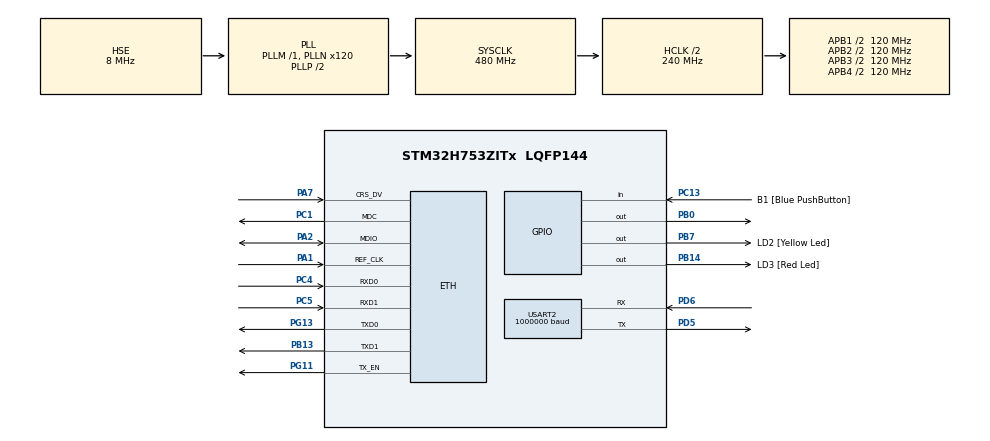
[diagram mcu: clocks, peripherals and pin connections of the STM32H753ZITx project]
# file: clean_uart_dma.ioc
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CORTEX_M7.AccessPermission_S-Cortex_Memory_Protection_Unit_Region1_Settings_S=MPU_REGION_FULL_ACCESS
CORTEX_M7.AccessPermission_S-Cortex_Memory_Protection_Unit_Region2_Settings_S=MPU_REGION_FULL_ACCESS
CORTEX_M7.AccessPermission_S-Cortex_Memory_Protection_Unit_Region3_Settings_S=MPU_REGION_FULL_ACCESS
CORTEX_M7.BaseAddress_S-Cortex_Memory_Protection_Unit_Region1_Settings_S=0x30000000
CORTEX_M7.BaseAddress_S-Cortex_Memory_Protection_Unit_Region2_Settings_S=0x30020000
CORTEX_M7.BaseAddress_S-Cortex_Memory_Protection_Unit_Region3_Settings_S=0x30040000
CORTEX_M7.CPU_DCache=Enabled
CORTEX_M7.CPU_ICache=Enabled
CORTEX_M7.DisableExec_S-Cortex_Memory_Protection_Unit_Region1_Settings_S=MPU_INSTRUCTION_ACCESS_DISABLE
CORTEX_M7.DisableExec_S-Cortex_Memory_Protection_Unit_Region2_Settings_S=MPU_INSTRUCTION_ACCESS_DISABLE
CORTEX_M7.DisableExec_S-Cortex_Memory_Protection_Unit_Region3_Settings_S=MPU_INSTRUCTION_ACCESS_DISABLE
CORTEX_M7.Enable_S-Cortex_Memory_Protection_Unit_Region1_Settings_S=MPU_REGION_ENABLE
CORTEX_M7.Enable_S-Cortex_Memory_Protection_Unit_Region2_Settings_S=MPU_REGION_ENABLE
CORTEX_M7.Enable_S-Cortex_Memory_Protection_Unit_Region3_Settings_S=MPU_REGION_ENABLE
CORTEX_M7.IsShareable_S-Cortex_Memory_Protection_Unit_Region1_Settings_S=MPU_ACCESS_SHAREABLE
CORTEX_M7.IsShareable_S-Cortex_Memory_Protection_Unit_Region3_Settings_S=MPU_ACCESS_SHAREABLE
CORTEX_M7.MPU_Control=MPU_PRIVILEGED_DEFAULT
CORTEX_M7.Size_S-Cortex_Memory_Protection_Unit_Region1_Settings_S=MPU_REGION_SIZE_4KB
CORTEX_M7.Size_S-Cortex_Memory_Protection_Unit_Region2_Settings_S=MPU_REGION_SIZE_128KB
CORTEX_M7.Size_S-Cortex_Memory_Protection_Unit_Region3_Settings_S=MPU_REGION_SIZE_512B
CORTEX_M7.TypeExtField_S-Cortex_Memory_Protection_Unit_Region1_Settings_S=MPU_TEX_LEVEL1
CORTEX_M7.TypeExtField_S-Cortex_Memory_Protection_Unit_Region2_Settings_S=MPU_TEX_LEVEL1
CORTEX_M7.default_mode_Activation=1
Dma.Request0=USART2_TX
Dma.Request1=USART2_RX
Dma.USART2_RX.1.Direction=DMA_PERIPH_TO_MEMORY
Dma.USART2_RX.1.EventEnable=DISABLE
Dma.USART2_RX.1.FIFOMode=DMA_FIFOMODE_DISABLE
Dma.USART2_RX.1.Instance=DMA1_Stream1
Dma.USART2_RX.1.MemDataAlignment=DMA_MDATAALIGN_BYTE
Dma.USART2_RX.1.MemInc=DMA_MINC_ENABLE
Dma.USART2_RX.1.Mode=DMA_CIRCULAR
Dma.USART2_RX.1.PeriphDataAlignment=DMA_PDATAALIGN_BYTE
Dma.USART2_RX.1.PeriphInc=DMA_PINC_DISABLE
Dma.USART2_RX.1.Polarity=HAL_DMAMUX_REQ_GEN_RISING
Dma.USART2_RX.1.Priority=DMA_PRIORITY_MEDIUM
Dma.USART2_RX.1.RequestNumber=1
Dma.USART2_RX.1.SignalID=NONE
Dma.USART2_RX.1.SyncEnable=DISABLE
Dma.USART2_RX.1.SyncPolarity=HAL_DMAMUX_SYNC_NO_EVENT
Dma.USART2_RX.1.SyncRequestNumber=1
Dma.USART2_RX.1.SyncSignalID=NONE
Dma.USART2_TX.0.Direction=DMA_MEMORY_TO_PERIPH
Dma.USART2_TX.0.EventEnable=DISABLE
Dma.USART2_TX.0.FIFOMode=DMA_FIFOMODE_DISABLE
Dma.USART2_TX.0.Instance=DMA1_Stream0
Dma.USART2_TX.0.MemDataAlignment=DMA_MDATAALIGN_BYTE
Dma.USART2_TX.0.MemInc=DMA_MINC_ENABLE
Dma.USART2_TX.0.Mode=DMA_NORMAL
Dma.USART2_TX.0.PeriphDataAlignment=DMA_PDATAALIGN_BYTE
Dma.USART2_TX.0.PeriphInc=DMA_PINC_DISABLE
Dma.USART2_TX.0.Polarity=HAL_DMAMUX_REQ_GEN_RISING
Dma.USART2_TX.0.Priority=DMA_PRIORITY_LOW
Dma.USART2_TX.0.RequestNumber=1
Dma.USART2_TX.0.SignalID=NONE
Dma.USART2_TX.0.SyncEnable=DISABLE
Dma.USART2_TX.0.SyncPolarity=HAL_DMAMUX_SYNC_NO_EVENT
Dma.USART2_TX.0.SyncRequestNumber=1
Dma.USART2_TX.0.SyncSignalID=NONE
ETH.MediaInterface=HAL_ETH_RMII_MODE
ETH.RxBufferAddress=0x30040200
ETH.RxDescAddress=0x30040000
ETH.TxDescAddress=0x30040100
FREERTOS.Tasks01=defaultTask,-1,1024,StartDefaultTask,Default,NULL,Static,defaultTaskBuffer,defaultTaskControlBlock
FREERTOS.configCHECK_FOR_STACK_OVERFLOW=2
FREERTOS.configGENERATE_RUN_TIME_STATS=1
FREERTOS.configMINIMAL_STACK_SIZE=128
FREERTOS.configTOTAL_HEAP_SIZE=20000
FREERTOS.configUSE_NEWLIB_REENTRANT=1
FREERTOS.configUSE_STATS_FORMATTING_FUNCTIONS=1
FREERTOS.configUSE_TRACE_FACILITY=1
LWIP.BSP.number=1
LWIP.CHECKSUM_BY_HARDWARE=0
LWIP.IP_ADDRESS=192.168.100.002
LWIP.LWIP_CHECKSUM_CTRL_PER_NETIF=1
LWIP.LWIP_DHCP=0
LWIP.LWIP_PERF=1
LWIP.LWIP_RAM_HEAP_POINTER=0x30020000
LWIP.LWIP_STATS=1
LWIP.MEMP_MEM_MALLOC=0
LWIP.MEMP_NUM_NETBUF=32
LWIP.MEMP_NUM_PBUF=64
LWIP.MEMP_NUM_RAW_PCB=8
LWIP.MEM_SIZE=65440
LWIP.NETMASK_ADDRESS=255.255.255.000
LWIP.PBUF_POOL_SIZE=64
LWIP.PPPOL2TP_AUTH_SUPPORT=0
LWIP.PPPOS_SUPPORT=1
LWIP.PPP_INPROC_IRQ_SAFE=1
LWIP.PPP_SUPPORT=1
LWIP.Version=v2.1.2_Cube
LWIP0.BSP.STBoard=false
LWIP0.BSP.api=BSP_COMPONENT_DRIVER
LWIP0.BSP.component=LAN8742
LWIP0.BSP.instance=LAN8742
LWIP0.BSP.name=Driver_PHY
LWIP0.BSP.semaphore=S_LAN8742
LWIP0.BSP.solution=LAN8742
Mcu.Family=STM32H7
Mcu.Name=STM32H753ZITx
Mcu.Package=LQFP144
NUCLEO-H753ZI.Bsp_Common_DEMO=true
NUCLEO-H753ZI.LD1=true
NUCLEO-H753ZI.VCP=true
NVIC.DMA1_Stream0_IRQn=true\:5\:0\:true\:false\:true\:true\:false\:true\:true
NVIC.DMA1_Stream1_IRQn=true\:5\:0\:false\:false\:true\:true\:false\:true\:true
NVIC.ETH_IRQn=true\:5\:0\:false\:false\:true\:true\:true\:true\:true
NVIC.PriorityGroup=NVIC_PRIORITYGROUP_4
NVIC.TIM17_IRQn=true\:5\:0\:false\:false\:true\:true\:true\:true\:true
NVIC.TIM1_UP_IRQn=true\:15\:0\:false\:false\:true\:false\:false\:true\:true
NVIC.TimeBase=TIM1_UP_IRQn
NVIC.TimeBaseIP=TIM1
NVIC.USART2_IRQn=true\:5\:0\:true\:false\:true\:true\:true\:true\:true
PA1.Mode=RMII
PA1.Signal=ETH_REF_CLK
PA2.GPIO_Speed=GPIO_SPEED_FREQ_VERY_HIGH
PA2.Mode=RMII
PA2.Signal=ETH_MDIO
PA7.Mode=RMII
PA7.Signal=ETH_CRS_DV
PB0.Signal=GPIO_Output
PB13.GPIO_Speed=GPIO_SPEED_FREQ_VERY_HIGH
PB13.Mode=RMII
PB13.Signal=ETH_TXD1
PB14.GPIO_Label=LD3 [Red Led]
PB14.Signal=GPIO_Output
PB7.GPIO_Label=LD2 [Yellow Led]
PB7.Signal=GPIO_Output
PC1.Mode=RMII
PC1.Signal=ETH_MDC
PC13.GPIO_Label=B1 [Blue PushButton]
PC13.Signal=GPIO_Input
PC14-OSC32_IN\ (OSC32_IN).Signal=RCC_OSC32_IN
PC15-OSC32_OUT\ (OSC32_OUT).Signal=RCC_OSC32_OUT
PC4.GPIO_Speed=GPIO_SPEED_FREQ_VERY_HIGH
PC4.Mode=RMII
PC4.Signal=ETH_RXD0
PC5.GPIO_Speed=GPIO_SPEED_FREQ_VERY_HIGH
PC5.Mode=RMII
PC5.Signal=ETH_RXD1
PD5.Mode=Asynchronous
PD5.Signal=USART2_TX
PD6.Mode=Asynchronous
PD6.Signal=USART2_RX
PD8.Signal=USART3_TX
PD9.Signal=USART3_RX
PG11.GPIO_Speed=GPIO_SPEED_FREQ_VERY_HIGH
PG11.Mode=RMII
PG11.Signal=ETH_TX_EN
PG13.GPIO_Speed=GPIO_SPEED_FREQ_VERY_HIGH
PG13.Mode=RMII
PG13.Signal=ETH_TXD0
PH0-OSC_IN\ (PH0).Mode=HSE-External-Oscillator
PH0-OSC_IN\ (PH0).Signal=RCC_OSC_IN
PH1-OSC_OUT\ (PH1).Mode=HSE-External-Oscillator
PH1-OSC_OUT\ (PH1).Signal=RCC_OSC_OUT
ProjectManager.HeapSize=0x200
ProjectManager.StackSize=0x400
ProjectManager.TargetToolchain=STM32CubeIDE
RCC.ADCFreq_Value=16125000
RCC.APB1Freq_Value=120000000
RCC.APB2Freq_Value=120000000
RCC.APB3Freq_Value=120000000
RCC.APB4Freq_Value=120000000
RCC.CortexFreq_Value=480000000
RCC.D1PPRE=RCC_APB3_DIV2
RCC.D2PPRE1=RCC_APB1_DIV2
RCC.D2PPRE2=RCC_APB2_DIV2
RCC.D3PPRE=RCC_APB4_DIV2
RCC.DIVM1=1
RCC.DIVN1=120
RCC.DIVQ1=4
RCC.HCLKFreq_Value=240000000
RCC.HPRE=RCC_HCLK_DIV2
RCC.HSE_VALUE=8000000
RCC.PLL2FRACN=0
RCC.PLL3FRACN=0
RCC.PLLFRACN=0
RCC.PLLSourceVirtual=RCC_PLLSOURCE_HSE
RCC.PWR_Regulator_Voltage_Scale=PWR_REGULATOR_VOLTAGE_SCALE0
RCC.SYSCLKFreq_VALUE=480000000
RCC.SYSCLKSource=RCC_SYSCLKSOURCE_PLLCLK
RCC.USBFreq_Value=240000000
USART2.BaudRate=1000000
USART2.VirtualMode-Asynchronous=VM_ASYNC
VP_FREERTOS_VS_CMSIS_V1.Mode=CMSIS_V1
VP_LWIP_VS_Enabled.Mode=Enabled
VP_MEMORYMAP_VS_MEMORYMAP.Mode=CurAppReg
VP_NUCLEO-H753ZI_VS_BSP_COMMON.Mode=COMMON
VP_SYS_VS_tim1.Mode=TIM1
VP_TIM17_VS_ClockSourceINT.Mode=Enable_Timer
board=NUCLEO-H753ZI

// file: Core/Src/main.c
/* USER CODE BEGIN Header */
/**
  ******************************************************************************
  * @file           : main.c
  * @brief          : Main program body
  ******************************************************************************
  * @attention
  *
  * Copyright (c) 2026 STMicroelectronics.
  * All rights reserved.
  *
  * This software is licensed under terms that can be found in the LICENSE file
  * in the root directory of this software component.
  * If no LICENSE file comes with this software, it is provided AS-IS.
  *
  ******************************************************************************
  */
/* USER CODE END Header */
#include "main.h"
#include "cmsis_os.h"
#include "lwip.h"

/* USER CODE BEGIN Includes */
#include "usart.h"
#include "lwrb.h"
#include "lwip/sockets.h"
/* USER CODE END Includes */

COM_InitTypeDef BspCOMInit;
__IO uint32_t BspButtonState = BUTTON_RELEASED;

TIM_HandleTypeDef htim17;

UART_HandleTypeDef huart2;
DMA_HandleTypeDef hdma_usart2_tx;
DMA_HandleTypeDef hdma_usart2_rx;

osThreadId defaultTaskHandle;
uint32_t defaultTaskBuffer[ 1024 ];
osStaticThreadDef_t defaultTaskControlBlock;

void SystemClock_Config(void);
static void MPU_Config(void);
static void MX_GPIO_Init(void);
static void MX_DMA_Init(void);
static void MX_USART2_UART_Init(void);
static void MX_TIM17_Init(void);
void StartDefaultTask(void const * argument);

/* USER CODE BEGIN PFP */
uint32_t sys_jiffies(void)
{
    return (uint32_t)(xTaskGetTickCount());
}
void echo_application_thread(void const * argument);
/* USER CODE END PFP */

int main(void)
{

  /* MPU Configuration--------------------------------------------------------*/
  MPU_Config();

  /* Enable the CPU Cache */

  /* Enable I-Cache---------------------------------------------------------*/
  SCB_EnableICache();

  /* Enable D-Cache---------------------------------------------------------*/
  SCB_EnableDCache();

  /* MCU Configuration--------------------------------------------------------*/

  /* Reset of all peripherals, Initializes the Flash interface and the Systick. */
  HAL_Init();

  /* USER CODE BEGIN Init */
  usart_preInit();
  /* USER CODE END Init */

  /* Configure the system clock */
  SystemClock_Config();

  /* Initialize all configured peripherals */
  MX_GPIO_Init();
  MX_DMA_Init();
  MX_USART2_UART_Init();
  MX_TIM17_Init();

  /* Create the thread(s) */
  /* definition and creation of defaultTask */
  osThreadStaticDef(defaultTask, StartDefaultTask, osPriorityBelowNormal, 0, 1024, defaultTaskBuffer, &defaultTaskControlBlock);
  defaultTaskHandle = osThreadCreate(osThread(defaultTask), NULL);

  /* Initialize leds */
  BSP_LED_Init(LED_GREEN);

  /* Initialize COM1 port (115200, 8 bits (7-bit data + 1 stop bit), no parity */
  BspCOMInit.BaudRate   = 115200;
  BspCOMInit.WordLength = COM_WORDLENGTH_8B;
  BspCOMInit.StopBits   = COM_STOPBITS_1;
  BspCOMInit.Parity     = COM_PARITY_NONE;
  BspCOMInit.HwFlowCtl  = COM_HWCONTROL_NONE;
  if (BSP_COM_Init(COM1, &BspCOMInit) != BSP_ERROR_NONE)
  {
    Error_Handler();
  }

  /* USER CODE BEGIN BSP */

  /* -- Sample board code to send message over COM1 port ---- */
  printf("Welcome to STM32 world !\n\r");

  /* -- Sample board code to switch on leds ---- */
  BSP_LED_On(LED_GREEN);

  /* USER CODE END BSP */

  /* Start scheduler */
  osKernelStart();

  /* We should never get here as control is now taken by the scheduler */

  /* Infinite loop */
  while (1)
  {

  }
}

void SystemClock_Config(void)
{
  RCC_OscInitTypeDef RCC_OscInitStruct = {0};
  RCC_ClkInitTypeDef RCC_ClkInitStruct = {0};

  /** Supply configuration update enable
  */
  HAL_PWREx_ConfigSupply(PWR_LDO_SUPPLY);

  /** Configure the main internal regulator output voltage
  */
  __HAL_PWR_VOLTAGESCALING_CONFIG(PWR_REGULATOR_VOLTAGE_SCALE0);

  while(!__HAL_PWR_GET_FLAG(PWR_FLAG_VOSRDY)) {}

  /** Initializes the RCC Oscillators according to the specified parameters
  * in the RCC_OscInitTypeDef structure.
  */
  RCC_OscInitStruct.OscillatorType = RCC_OSCILLATORTYPE_HSE;
  RCC_OscInitStruct.HSEState = RCC_HSE_ON;
  RCC_OscInitStruct.PLL.PLLState = RCC_PLL_ON;
  RCC_OscInitStruct.PLL.PLLSource = RCC_PLLSOURCE_HSE;
  RCC_OscInitStruct.PLL.PLLM = 1;
  RCC_OscInitStruct.PLL.PLLN = 120;
  RCC_OscInitStruct.PLL.PLLP = 2;
  RCC_OscInitStruct.PLL.PLLQ = 4;
  RCC_OscInitStruct.PLL.PLLR = 2;
  RCC_OscInitStruct.PLL.PLLRGE = RCC_PLL1VCIRANGE_3;
  RCC_OscInitStruct.PLL.PLLVCOSEL = RCC_PLL1VCOWIDE;
  RCC_OscInitStruct.PLL.PLLFRACN = 0;
  if (HAL_RCC_OscConfig(&RCC_OscInitStruct) != HAL_OK)
  {
    Error_Handler();
  }

  /** Initializes the CPU, AHB and APB buses clocks
  */
  RCC_ClkInitStruct.ClockType = RCC_CLOCKTYPE_HCLK|RCC_CLOCKTYPE_SYSCLK
                              |RCC_CLOCKTYPE_PCLK1|RCC_CLOCKTYPE_PCLK2
                              |RCC_CLOCKTYPE_D3PCLK1|RCC_CLOCKTYPE_D1PCLK1;
  RCC_ClkInitStruct.SYSCLKSource = RCC_SYSCLKSOURCE_PLLCLK;
  RCC_ClkInitStruct.SYSCLKDivider = RCC_SYSCLK_DIV1;
  RCC_ClkInitStruct.AHBCLKDivider = RCC_HCLK_DIV2;
  RCC_ClkInitStruct.APB3CLKDivider = RCC_APB3_DIV2;
  RCC_ClkInitStruct.APB1CLKDivider = RCC_APB1_DIV2;
  RCC_ClkInitStruct.APB2CLKDivider = RCC_APB2_DIV2;
  RCC_ClkInitStruct.APB4CLKDivider = RCC_APB4_DIV2;

  if (HAL_RCC_ClockConfig(&RCC_ClkInitStruct, FLASH_LATENCY_4) != HAL_OK)
  {
    Error_Handler();
  }
}

static void MX_TIM17_Init(void)
{

  htim17.Instance = TIM17;
  htim17.Init.Prescaler = 0;
  htim17.Init.CounterMode = TIM_COUNTERMODE_UP;
  htim17.Init.Period = 65535;
  htim17.Init.ClockDivision = TIM_CLOCKDIVISION_DIV1;
  htim17.Init.RepetitionCounter = 0;
  htim17.Init.AutoReloadPreload = TIM_AUTORELOAD_PRELOAD_DISABLE;
  if (HAL_TIM_Base_Init(&htim17) != HAL_OK)
  {
    Error_Handler();
  }

}

static void MX_USART2_UART_Init(void)
{

  huart2.Instance = USART2;
  huart2.Init.BaudRate = 1000000;
  huart2.Init.WordLength = UART_WORDLENGTH_8B;
  huart2.Init.StopBits = UART_STOPBITS_1;
  huart2.Init.Parity = UART_PARITY_NONE;
  huart2.Init.Mode = UART_MODE_TX_RX;
  huart2.Init.HwFlowCtl = UART_HWCONTROL_NONE;
  huart2.Init.OverSampling = UART_OVERSAMPLING_16;
  huart2.Init.OneBitSampling = UART_ONE_BIT_SAMPLE_DISABLE;
  huart2.Init.ClockPrescaler = UART_PRESCALER_DIV1;
  huart2.AdvancedInit.AdvFeatureInit = UART_ADVFEATURE_NO_INIT;
  if (HAL_UART_Init(&huart2) != HAL_OK)
  {
    Error_Handler();
  }
  if (HAL_UARTEx_SetTxFifoThreshold(&huart2, UART_TXFIFO_THRESHOLD_1_8) != HAL_OK)
  {
    Error_Handler();
  }
  if (HAL_UARTEx_SetRxFifoThreshold(&huart2, UART_RXFIFO_THRESHOLD_1_8) != HAL_OK)
  {
    Error_Handler();
  }
  if (HAL_UARTEx_DisableFifoMode(&huart2) != HAL_OK)
  {
    Error_Handler();
  }

}

static void MX_DMA_Init(void)
{

  /* DMA controller clock enable */
  __HAL_RCC_DMA1_CLK_ENABLE();

  /* DMA interrupt init */
  /* DMA1_Stream0_IRQn interrupt configuration */
  HAL_NVIC_SetPriority(DMA1_Stream0_IRQn, 5, 0);
  HAL_NVIC_EnableIRQ(DMA1_Stream0_IRQn);
  /* DMA1_Stream1_IRQn interrupt configuration */
  HAL_NVIC_SetPriority(DMA1_Stream1_IRQn, 5, 0);
  HAL_NVIC_EnableIRQ(DMA1_Stream1_IRQn);

}

static void MX_GPIO_Init(void)
{
  GPIO_InitTypeDef GPIO_InitStruct = {0};

  /* GPIO Ports Clock Enable */
  __HAL_RCC_GPIOC_CLK_ENABLE();
  __HAL_RCC_GPIOH_CLK_ENABLE();
  __HAL_RCC_GPIOA_CLK_ENABLE();
  __HAL_RCC_GPIOB_CLK_ENABLE();
  __HAL_RCC_GPIOD_CLK_ENABLE();
  __HAL_RCC_GPIOG_CLK_ENABLE();

  /*Configure GPIO pin Output Level */
  HAL_GPIO_WritePin(GPIOB, LD3_Pin|LD2_Pin, GPIO_PIN_RESET);

  /*Configure GPIO pin : B1_Pin */
  GPIO_InitStruct.Pin = B1_Pin;
  GPIO_InitStruct.Mode = GPIO_MODE_INPUT;
  GPIO_InitStruct.Pull = GPIO_NOPULL;
  HAL_GPIO_Init(B1_GPIO_Port, &GPIO_InitStruct);

  /*Configure GPIO pins : LD3_Pin LD2_Pin */
  GPIO_InitStruct.Pin = LD3_Pin|LD2_Pin;
  GPIO_InitStruct.Mode = GPIO_MODE_OUTPUT_PP;
  GPIO_InitStruct.Pull = GPIO_NOPULL;
  GPIO_InitStruct.Speed = GPIO_SPEED_FREQ_LOW;
  HAL_GPIO_Init(GPIOB, &GPIO_InitStruct);

}

/* USER CODE BEGIN 4 */
#define RECV_BUF_SIZE 16192
#define ECHO_PORT_1 7
#define ECHO_PORT_2 8

typedef struct {
    u16_t echo_port;
    char *recv_buf;
} TaskParams;

static char acRuntimeStats[256];
static int iRuntimeStatsDivisor;
static osThreadId echo_appHandle_1;
static osThreadId echo_appHandle_2;
static char recv_buf_1[RECV_BUF_SIZE];
static char recv_buf_2[RECV_BUF_SIZE];
static TaskParams params_1 = {ECHO_PORT_1, &recv_buf_1[0]};
static TaskParams params_2 = {ECHO_PORT_2, &recv_buf_2[0]};

void echo_application_thread(void const * argument)
{
  /* USER CODE BEGIN echo_application_thread */
  /* Infinite loop */
  int sock;
  u16_t echo_port = ((TaskParams *)argument)->echo_port;
  char *recv_buf = ((TaskParams *)argument)->recv_buf;
  struct sockaddr_in client_addr;
  socklen_t addr_len;
  struct sockaddr_in address;
  uint32_t run = 1;

  printf("Starting echo server ...\n\r");

  memset(&address, 0, sizeof(address));

  if ((sock = lwip_socket(AF_INET, SOCK_DGRAM, 0)) < 0)
  {
    printf("Socket creation failed\n\r");
    return;
  }

  address.sin_family = AF_INET;
  address.sin_port = htons(echo_port);
  address.sin_addr.s_addr = INADDR_ANY;

  if (lwip_bind(sock, (struct sockaddr *)&address, sizeof (address)) < 0)
  {
    printf("Bind failed\n\r");
    return;
  }

  addr_len = sizeof(client_addr);

  printf("UDP Echo server started on port %d\n\r", echo_port);

  while (1)
  {
    int len = recvfrom(sock,
                       recv_buf,
                       RECV_BUF_SIZE,
                       0,
                       (struct sockaddr *)&client_addr,
                       &addr_len);

    if (len > 0)
    {
      /* Echo back the received data */
      sendto(sock,
             recv_buf,
             len,
             0,
             (struct sockaddr *)&client_addr,
             addr_len);
    }
    run += 1;
    if ((run % 100) == 0)
    {
      printf("Server %d : Run %ld Sent back all data %d Bytes\n", echo_port, run, len);
    }
  }
}

/* USER CODE END 4 */

void StartDefaultTask(void const * argument)
{
  /* init code for LWIP */
  MX_LWIP_Init();
  /* USER CODE BEGIN 5 */

  /* definition and creation of echo_app */
  osThreadDef(echo_app, echo_application_thread, osPriorityNormal, 0, 512);
  osThreadDef(echo_app2, echo_application_thread, osPriorityNormal, 0, 512);
  echo_appHandle_1 = osThreadCreate(osThread(echo_app), &params_1);
  echo_appHandle_2 = osThreadCreate(osThread(echo_app2), &params_2);

  /* Infinite loop */
  for(;;)
  {
    osDelay(2000);

    if (++iRuntimeStatsDivisor > 6)
    // if (0)
    {
      vTaskGetRunTimeStats(acRuntimeStats);
      // printf("%s\n", acRuntimeStats);
      // stats_display();
      iRuntimeStatsDivisor=0;

    }

  }
  /* USER CODE END 5 */
}

 /* MPU Configuration */

void MPU_Config(void)
{
  MPU_Region_InitTypeDef MPU_InitStruct = {0};

  /* Disables the MPU */
  HAL_MPU_Disable();

  /** Initializes and configures the Region and the memory to be protected
  */
  MPU_InitStruct.Enable = MPU_REGION_ENABLE;
  MPU_InitStruct.Number = MPU_REGION_NUMBER0;
  MPU_InitStruct.BaseAddress = 0x0;
  MPU_InitStruct.Size = MPU_REGION_SIZE_4GB;
  MPU_InitStruct.SubRegionDisable = 0x87;
  MPU_InitStruct.TypeExtField = MPU_TEX_LEVEL0;
  MPU_InitStruct.AccessPermission = MPU_REGION_NO_ACCESS;
  MPU_InitStruct.DisableExec = MPU_INSTRUCTION_ACCESS_DISABLE;
  MPU_InitStruct.IsShareable = MPU_ACCESS_SHAREABLE;
  MPU_InitStruct.IsCacheable = MPU_ACCESS_NOT_CACHEABLE;
  MPU_InitStruct.IsBufferable = MPU_ACCESS_NOT_BUFFERABLE;

  HAL_MPU_ConfigRegion(&MPU_InitStruct);

  /** Initializes and configures the Region and the memory to be protected
  */
  MPU_InitStruct.Number = MPU_REGION_NUMBER1;
  MPU_InitStruct.BaseAddress = 0x30000000;
  MPU_InitStruct.Size = MPU_REGION_SIZE_4KB;
  MPU_InitStruct.SubRegionDisable = 0x0;
  MPU_InitStruct.TypeExtField = MPU_TEX_LEVEL1;
  MPU_InitStruct.AccessPermission = MPU_REGION_FULL_ACCESS;

  HAL_MPU_ConfigRegion(&MPU_InitStruct);

  /** Initializes and configures the Region and the memory to be protected
  */
  MPU_InitStruct.Number = MPU_REGION_NUMBER2;
  MPU_InitStruct.BaseAddress = 0x30020000;
  MPU_InitStruct.Size = MPU_REGION_SIZE_128KB;
  MPU_InitStruct.IsShareable = MPU_ACCESS_NOT_SHAREABLE;

  HAL_MPU_ConfigRegion(&MPU_InitStruct);

  /** Initializes and configures the Region and the memory to be protected
  */
  MPU_InitStruct.Number = MPU_REGION_NUMBER3;
  MPU_InitStruct.BaseAddress = 0x30040000;
  MPU_InitStruct.Size = MPU_REGION_SIZE_512B;
  MPU_InitStruct.TypeExtField = MPU_TEX_LEVEL0;
  MPU_InitStruct.IsShareable = MPU_ACCESS_SHAREABLE;

  HAL_MPU_ConfigRegion(&MPU_InitStruct);
  /* Enables the MPU */
  HAL_MPU_Enable(MPU_PRIVILEGED_DEFAULT);

}

void HAL_TIM_PeriodElapsedCallback(TIM_HandleTypeDef *htim)
{
  if (htim->Instance == TIM1)
  {
    HAL_IncTick();
  }
}

void Error_Handler(void)
{
  /* USER CODE BEGIN Error_Handler_Debug */
  /* User can add his own implementation to report the HAL error return state */
  __disable_irq();
  printf("ERROR : Entered Error_Handler\n\r");
  while (1)
  {
  }
  /* USER CODE END Error_Handler_Debug */
}

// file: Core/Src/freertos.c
/* USER CODE BEGIN Header */
/**
  ******************************************************************************
  * File Name          : freertos.c
  * Description        : Code for freertos applications
  ******************************************************************************
  * @attention
  *
  * Copyright (c) 2026 STMicroelectronics.
  * All rights reserved.
  *
  * This software is licensed under terms that can be found in the LICENSE file
  * in the root directory of this software component.
  * If no LICENSE file comes with this software, it is provided AS-IS.
  *
  ******************************************************************************
  */
/* USER CODE END Header */

#include "FreeRTOS.h"
#include "task.h"
#include "main.h"

/* USER CODE BEGIN Variables */
extern TIM_HandleTypeDef htim17;
/* USER CODE END Variables */

/* GetIdleTaskMemory prototype (linked to static allocation support) */
void vApplicationGetIdleTaskMemory( StaticTask_t **ppxIdleTaskTCBBuffer, StackType_t **ppxIdleTaskStackBuffer, uint32_t *pulIdleTaskStackSize );

/* Hook prototypes */
void configureTimerForRunTimeStats(void);
unsigned long getRunTimeCounterValue(void);
void vApplicationStackOverflowHook(xTaskHandle xTask, signed char *pcTaskName);

/* USER CODE BEGIN 1 */
/* Functions needed when configGENERATE_RUN_TIME_STATS is on */
__weak void configureTimerForRunTimeStats(void)
{
  HAL_TIM_Base_Start_IT(&htim17);
}

extern volatile unsigned long ulHighFrequencyTimerTicks;
__weak unsigned long getRunTimeCounterValue(void)
{
  return ulHighFrequencyTimerTicks;
}
/* USER CODE END 1 */

/* USER CODE BEGIN 4 */
__weak void vApplicationStackOverflowHook(xTaskHandle xTask, signed char *pcTaskName)
{
  /* Run time stack overflow checking is performed if
  configCHECK_FOR_STACK_OVERFLOW is defined to 1 or 2. This hook function is
  called if a stack overflow is detected. */
  printf("Stack Overflow in %s task\n", pcTaskName);
}
/* USER CODE END 4 */

/* USER CODE BEGIN GET_IDLE_TASK_MEMORY */
static StaticTask_t xIdleTaskTCBBuffer;
static StackType_t xIdleStack[configMINIMAL_STACK_SIZE];

void vApplicationGetIdleTaskMemory( StaticTask_t **ppxIdleTaskTCBBuffer, StackType_t **ppxIdleTaskStackBuffer, uint32_t *pulIdleTaskStackSize )
{
  *ppxIdleTaskTCBBuffer = &xIdleTaskTCBBuffer;
  *ppxIdleTaskStackBuffer = &xIdleStack[0];
  *pulIdleTaskStackSize = configMINIMAL_STACK_SIZE;
  /* place for user code */
}
/* USER CODE END GET_IDLE_TASK_MEMORY */
